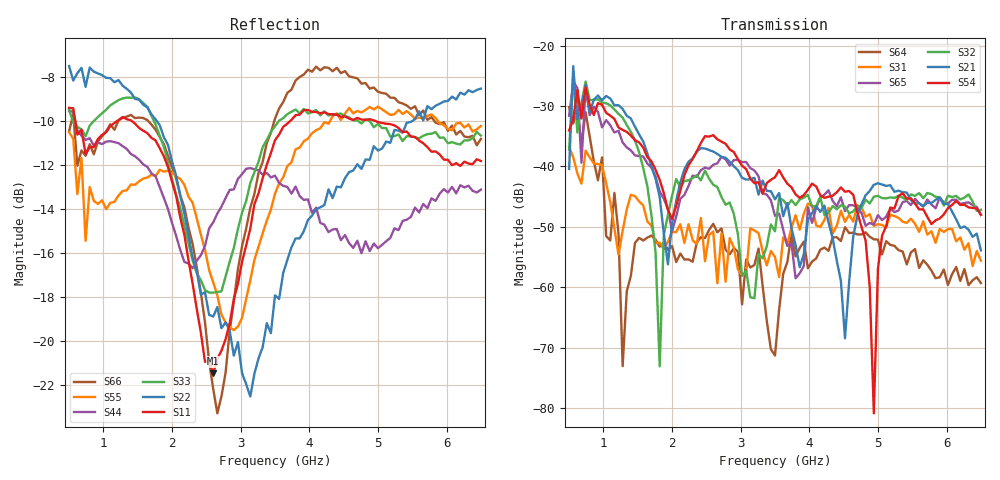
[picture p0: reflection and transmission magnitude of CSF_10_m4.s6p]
!Keysight Technologies,M9804A,MY58100912,A.14.10.03
!Date: Thursday, April 27, 2023 10:28:33
!Correction: S11(C  6-Port  )
!S12(C  6-Port  )
!S13(C  6-Port  )
!S14(C  6-Port  )
!S15(C  6-Port  )
!S16(C  6-Port  )
!S21(C  6-Port  )
!S22(C  6-Port  )
!S23(C  6-Port  )
!S24(C  6-Port  )
!S25(C  6-Port  )
!S26(C  6-Port  )
!S31(C  6-Port  )
!S32(C  6-Port  )
!S33(C  6-Port  )
!S34(C  6-Port  )
!S35(C  6-Port  )
!S36(C  6-Port  )
!S41(C  6-Port  )
!S42(C  6-Port  )
!S43(C  6-Port  )
!S44(C  6-Port  )
!S45(C  6-Port  )
!S46(C  6-Port  )
!S51(C  6-Port  )
!S52(C  6-Port  )
!S53(C  6-Port  )
!S54(C  6-Port  )
!S55(C  6-Port  )
!S56(C  6-Port  )
!S61(C  6-Port  )
!S62(C  6-Port  )
!S63(C  6-Port  )
!S64(C  6-Port  )
!S65(C  6-Port  )
!S66(C  6-Port  )
!S6P File: Measurement: :
# Hz S  RI  R 50
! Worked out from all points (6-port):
!   101 points, 500 MHz to 6.5 GHz, reference 50 ohm
!   strongest paths, dB at 500 MHz, 2 GHz, 3.5 GHz, 5 GHz, 6.5 GHz:
!     S54: -34.0, -48.7, -41.8, -56.9, -48.0
!     S21: -40.4, -49.4, -45.4, -42.8, -53.9
!     S32: -37.2, -44.9, -50.7, -44.9, -47.2
!     S65: -31.6, -50.7, -48.2, -48.1, -48.0
!     S31: -36.7, -50.8, -55.0, -49.6, -55.6
!     S64: -30.2, -53.2, -71.3, -52.1, -59.3
!   lowest |S11| = -21.5 dB at 2.6 GHz (marker M1), VSWR 1.18, Z = 42.5 + j2.22 ohm
!   |S11| at or under -10 dB: 589.6 MHz to 1.194 GHz (604.8 MHz wide, 67.8 % of centre); 1.418 GHz to 3.717 GHz (2.299 GHz wide, 89.5 % of centre); 4.973 GHz to end of sweep
